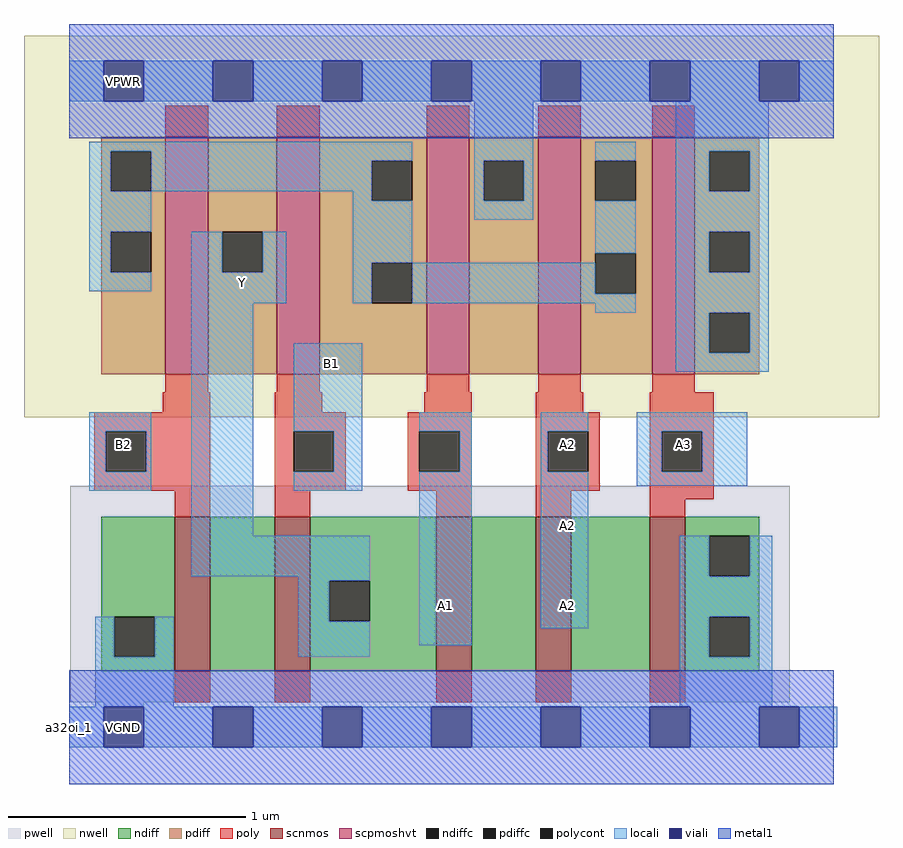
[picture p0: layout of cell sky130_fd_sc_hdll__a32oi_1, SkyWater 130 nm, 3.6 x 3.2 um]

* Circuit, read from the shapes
.subckt sky130_fd_sc_hdll__a32oi_1 A1 A2 A3 B1 B2 VGND VNB VPB VPWR Y
XM1 n1 B2 VGND VNB sky130_fd_pr__nfet_01v8 w=0.65 l=0.15
XM2 Y B1 n1 VNB sky130_fd_pr__nfet_01v8 w=0.65 l=0.15
XM3 n2 A1 Y VNB sky130_fd_pr__nfet_01v8 w=0.65 l=0.15
XM4 n3 A2 n2 VNB sky130_fd_pr__nfet_01v8 w=0.65 l=0.15
XM5 VGND A3 n3 VNB sky130_fd_pr__nfet_01v8 w=0.65 l=0.15
XM6 Y B2 n4 VPB sky130_fd_pr__pfet_01v8_hvt w=1 l=0.18
XM7 n4 B1 Y VPB sky130_fd_pr__pfet_01v8_hvt w=1 l=0.18
XM8 VPWR A1 n4 VPB sky130_fd_pr__pfet_01v8_hvt w=1 l=0.18
XM9 n4 A2 VPWR VPB sky130_fd_pr__pfet_01v8_hvt w=1 l=0.18
XM10 VPWR A3 n4 VPB sky130_fd_pr__pfet_01v8_hvt w=1 l=0.18
.ends

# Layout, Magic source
magic
tech sky130A
magscale 1 2
<< nwell >>
rect -38 261 682 582
<< pwell >>
rect 1 21 607 203
rect 29 -17 63 21
<< scnmos >>
rect 89 47 119 177
rect 173 47 203 177
rect 309 47 339 177
rect 393 47 423 177
rect 489 47 519 177
<< scpmoshvt >>
rect 81 297 117 497
rect 175 297 211 497
rect 301 297 337 497
rect 395 297 431 497
rect 491 297 527 497
<< ndiff >>
rect 27 93 89 177
rect 27 59 38 93
rect 72 59 89 93
rect 27 47 89 59
rect 119 47 173 177
rect 203 123 309 177
rect 203 89 219 123
rect 253 89 309 123
rect 203 47 309 89
rect 339 47 393 177
rect 423 47 489 177
rect 519 161 581 177
rect 519 127 539 161
rect 573 127 581 161
rect 519 93 581 127
rect 519 59 539 93
rect 573 59 581 93
rect 519 47 581 59
<< pdiff >>
rect 27 485 81 497
rect 27 451 35 485
rect 69 451 81 485
rect 27 417 81 451
rect 27 383 35 417
rect 69 383 81 417
rect 27 297 81 383
rect 117 417 175 497
rect 117 383 129 417
rect 163 383 175 417
rect 117 297 175 383
rect 211 477 301 497
rect 211 443 255 477
rect 289 443 301 477
rect 211 391 301 443
rect 211 357 255 391
rect 289 357 301 391
rect 211 297 301 357
rect 337 477 395 497
rect 337 443 349 477
rect 383 443 395 477
rect 337 297 395 443
rect 431 477 491 497
rect 431 443 443 477
rect 477 443 491 477
rect 431 399 491 443
rect 431 365 443 399
rect 477 365 491 399
rect 431 297 491 365
rect 527 485 581 497
rect 527 451 539 485
rect 573 451 581 485
rect 527 417 581 451
rect 527 383 539 417
rect 573 383 581 417
rect 527 349 581 383
rect 527 315 539 349
rect 573 315 581 349
rect 527 297 581 315
<< ndiffc >>
rect 38 59 72 93
rect 219 89 253 123
rect 539 127 573 161
rect 539 59 573 93
<< pdiffc >>
rect 35 451 69 485
rect 35 383 69 417
rect 129 383 163 417
rect 255 443 289 477
rect 255 357 289 391
rect 349 443 383 477
rect 443 443 477 477
rect 443 365 477 399
rect 539 451 573 485
rect 539 383 573 417
rect 539 315 573 349
<< poly >>
rect 81 497 117 523
rect 175 497 211 523
rect 301 497 337 523
rect 395 497 431 523
rect 491 497 527 523
rect 81 282 117 297
rect 175 282 211 297
rect 301 282 337 297
rect 395 282 431 297
rect 491 282 527 297
rect 79 265 119 282
rect 21 249 119 265
rect 21 215 31 249
rect 65 215 119 249
rect 21 199 119 215
rect 89 177 119 199
rect 173 265 213 282
rect 299 265 339 282
rect 173 249 233 265
rect 173 215 189 249
rect 223 215 233 249
rect 173 199 233 215
rect 285 249 339 265
rect 285 215 295 249
rect 329 215 339 249
rect 285 199 339 215
rect 173 177 203 199
rect 309 177 339 199
rect 393 265 433 282
rect 393 249 447 265
rect 393 215 403 249
rect 437 215 447 249
rect 393 199 447 215
rect 489 249 543 282
rect 489 215 499 249
rect 533 215 543 249
rect 393 177 423 199
rect 489 192 543 215
rect 489 177 519 192
rect 89 21 119 47
rect 173 21 203 47
rect 309 21 339 47
rect 393 21 423 47
rect 489 21 519 47
<< polycont >>
rect 31 215 65 249
rect 189 215 223 249
rect 295 215 329 249
rect 403 215 437 249
rect 499 215 533 249
<< locali >>
rect 0 527 29 561
rect 63 527 121 561
rect 155 527 213 561
rect 247 527 305 561
rect 339 527 397 561
rect 431 527 489 561
rect 523 527 581 561
rect 615 527 644 561
rect 17 485 289 493
rect 17 451 35 485
rect 69 477 289 485
rect 69 451 255 477
rect 17 417 69 451
rect 239 443 255 451
rect 17 383 35 417
rect 17 367 69 383
rect 103 383 129 417
rect 163 383 183 417
rect 103 357 183 383
rect 239 391 289 443
rect 341 477 391 527
rect 341 443 349 477
rect 383 443 391 477
rect 341 427 391 443
rect 443 477 477 493
rect 443 399 477 443
rect 239 357 255 391
rect 289 365 443 391
rect 289 357 477 365
rect 17 249 69 265
rect 17 215 31 249
rect 65 215 69 249
rect 17 199 69 215
rect 103 161 155 357
rect 443 349 477 357
rect 511 485 589 527
rect 511 451 539 485
rect 573 451 589 485
rect 511 417 589 451
rect 511 383 539 417
rect 573 383 589 417
rect 511 349 589 383
rect 189 249 247 323
rect 511 315 539 349
rect 573 315 589 349
rect 511 299 589 315
rect 223 215 247 249
rect 189 199 247 215
rect 295 249 339 265
rect 329 215 339 249
rect 103 127 253 161
rect 193 123 253 127
rect 22 59 38 93
rect 72 59 88 93
rect 193 89 219 123
rect 193 59 253 89
rect 295 69 339 215
rect 397 249 437 265
rect 397 215 403 249
rect 397 83 437 215
rect 478 249 571 265
rect 478 215 499 249
rect 533 215 571 249
rect 478 203 571 215
rect 514 127 539 161
rect 573 127 592 161
rect 514 93 592 127
rect 514 59 539 93
rect 573 59 592 93
rect 22 17 88 59
rect 514 17 592 59
rect 0 -17 29 17
rect 63 -17 121 17
rect 155 -17 213 17
rect 247 -17 305 17
rect 339 -17 397 17
rect 431 -17 489 17
rect 523 -17 581 17
rect 615 -17 647 17
<< viali >>
rect 29 527 63 561
rect 121 527 155 561
rect 213 527 247 561
rect 305 527 339 561
rect 397 527 431 561
rect 489 527 523 561
rect 581 527 615 561
rect 29 -17 63 17
rect 121 -17 155 17
rect 213 -17 247 17
rect 305 -17 339 17
rect 397 -17 431 17
rect 489 -17 523 17
rect 581 -17 615 17
<< metal1 >>
rect 0 561 644 592
rect 0 527 29 561
rect 63 527 121 561
rect 155 527 213 561
rect 247 527 305 561
rect 339 527 397 561
rect 431 527 489 561
rect 523 527 581 561
rect 615 527 644 561
rect 0 496 644 527
rect 0 17 644 48
rect 0 -17 29 17
rect 63 -17 121 17
rect 155 -17 213 17
rect 247 -17 305 17
rect 339 -17 397 17
rect 431 -17 489 17
rect 523 -17 581 17
rect 615 -17 644 17
rect 0 -48 644 -17
<< labels >>
flabel locali s 403 85 437 119 0 FreeSans 200 0 0 0 A2
port 2 nsew signal input
flabel locali s 129 357 163 391 0 FreeSans 200 0 0 0 Y
port 10 nsew signal output
flabel locali s 300 85 334 119 0 FreeSans 200 0 0 0 A1
port 1 nsew signal input
flabel locali s 29 221 63 255 0 FreeSans 200 0 0 0 B2
port 5 nsew signal input
flabel locali s 204 289 238 323 0 FreeSans 200 0 0 0 B1
port 4 nsew signal input
flabel locali s 403 153 437 187 0 FreeSans 200 0 0 0 A2
port 2 nsew signal input
flabel locali s 403 221 437 255 0 FreeSans 200 0 0 0 A2
port 2 nsew signal input
flabel locali s 500 221 534 255 0 FreeSans 200 0 0 0 A3
port 3 nsew signal input
flabel metal1 s 29 -17 63 17 0 FreeSans 200 0 0 0 VGND
port 6 nsew ground bidirectional
flabel metal1 s 29 527 63 561 0 FreeSans 200 0 0 0 VPWR
port 9 nsew power bidirectional
flabel nwell s 29 527 63 561 0 FreeSans 200 0 0 0 VPB
port 8 nsew power bidirectional
flabel pwell s 29 -17 63 17 0 FreeSans 200 0 0 0 VNB
port 7 nsew ground bidirectional
rlabel comment s 0 0 0 0 4 a32oi_1
<< properties >>
string LEFsite unithd
string LEFclass CORE
string FIXED_BBOX 0 0 644 544
string GDS_FILE $PDKPATH/libs.ref/sky130_fd_sc_hdll/gds/sky130_fd_sc_hdll.gds
string LEFsymmetry X Y R90
string GDS_END 985998
string GDS_START 980064
string LEFproperties maskLayoutSubType "abstract" prCellType "standard" originalViewName "layout"
<< end >>
